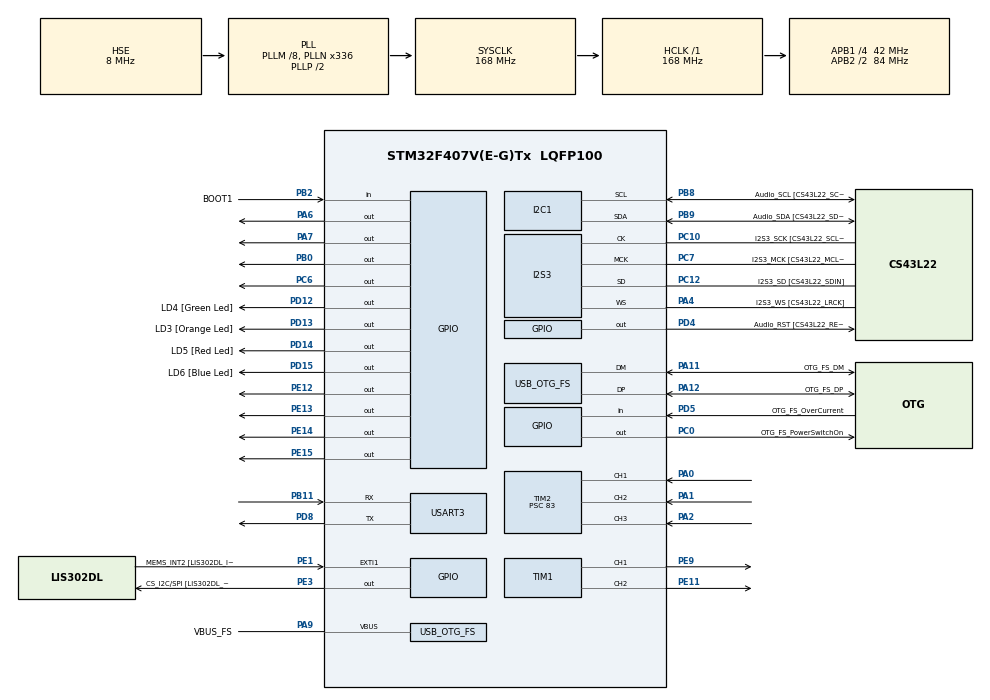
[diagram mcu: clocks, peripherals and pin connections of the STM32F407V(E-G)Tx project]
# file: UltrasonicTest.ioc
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FREERTOS.BinarySemaphores01=myBinarySem01,Dynamic,NULL,Available
FREERTOS.Mutexes01=myMutex01,Dynamic,NULL,Available
FREERTOS.Queues01=distanceQueue,16,uint16_t,0,Dynamic,NULL,NULL
FREERTOS.Tasks01=defaultTask,24,128,StartDefaultTask,Default,NULL,Dynamic,NULL,NULL;Task_Ultrasonic,8,128,StartTask03,Default,NULL,Dynamic,NULL,NULL;Task_Display,8,128,StartTask03,Default,NULL,Dynamic,NULL,NULL;Task_Bluetooth,8,128,StartTask04,Default,NULL,Dynamic,NULL,NULL
FREERTOS.configUSE_NEWLIB_REENTRANT=1
I2S3.AudioFreq-Half_Duplex_Master=I2S_AUDIOFREQ_96K
I2S3.ErrorAudioFreq=-2.34 %
I2S3.ErrorAudioFreq-Half_Duplex_Master=0.8 %
I2S3.FullDuplexMode=I2S_FULLDUPLEXMODE_DISABLE
I2S3.Instance=SPI$Index
I2S3.RealAudioFreq=93.75 KHz
I2S3.RealAudioFreq-Half_Duplex_Master=96.774 KHz
I2S3.VirtualMode=I2S_MODE_MASTER
Mcu.Family=STM32F4
Mcu.Name=STM32F407V(E-G)Tx
Mcu.Package=LQFP100
NVIC.OTG_FS_IRQn=true\:5\:0\:false\:false\:true\:true\:true\:true\:true
NVIC.PriorityGroup=NVIC_PRIORITYGROUP_4
NVIC.TIM2_IRQn=true\:5\:0\:false\:false\:true\:true\:true\:true\:true
NVIC.TIM6_DAC_IRQn=true\:15\:0\:false\:false\:true\:false\:false\:true\:true
NVIC.TimeBase=TIM6_DAC_IRQn
NVIC.TimeBaseIP=TIM6
PA0-WKUP.Signal=S_TIM2_CH1_ETR
PA1.Signal=S_TIM2_CH2
PA10.GPIO_Label=OTG_FS_ID
PA10.GPIO_Mode=GPIO_MODE_AF_PP
PA10.GPIO_PuPd=GPIO_NOPULL
PA10.GPIO_Speed=GPIO_SPEED_FREQ_LOW
PA10.Signal=USB_OTG_FS_ID
PA11.GPIO_Label=OTG_FS_DM
PA11.GPIO_Mode=GPIO_MODE_AF_PP
PA11.GPIO_PuPd=GPIO_NOPULL
PA11.GPIO_Speed=GPIO_SPEED_FREQ_LOW
PA11.Mode=Host_Only
PA11.Signal=USB_OTG_FS_DM
PA12.GPIO_Label=OTG_FS_DP
PA12.GPIO_Mode=GPIO_MODE_AF_PP
PA12.GPIO_PuPd=GPIO_NOPULL
PA12.GPIO_Speed=GPIO_SPEED_FREQ_LOW
PA12.Mode=Host_Only
PA12.Signal=USB_OTG_FS_DP
PA13.GPIO_Label=SWDIO
PA13.Mode=Serial_Wire
PA13.Signal=SYS_JTMS-SWDIO
PA14.GPIO_Label=SWCLK
PA14.Mode=Serial_Wire
PA14.Signal=SYS_JTCK-SWCLK
PA2.Signal=S_TIM2_CH3
PA4.GPIO_Label=I2S3_WS [CS43L22_LRCK]
PA4.GPIO_Mode=GPIO_MODE_AF_PP
PA4.GPIO_PuPd=GPIO_NOPULL
PA4.GPIO_Speed=GPIO_SPEED_FREQ_LOW
PA4.Mode=Half_Duplex_Master
PA4.Signal=I2S3_WS
PA5.GPIO_Label=SPI1_SCK [LIS302DL_SCL/SPC]
PA5.GPIO_Mode=GPIO_MODE_AF_PP
PA5.GPIO_PuPd=GPIO_NOPULL
PA5.GPIO_Speed=GPIO_SPEED_FREQ_LOW
PA5.Signal=SPI1_SCK
PA6.Signal=GPIO_Output
PA7.Signal=GPIO_Output
PA9.GPIO_Label=VBUS_FS
PA9.GPIO_Mode=GPIO_MODE_INPUT
PA9.GPIO_PuPd=GPIO_NOPULL
PA9.Mode=Activate_VBUS
PA9.Signal=USB_OTG_FS_VBUS
PB0.Signal=GPIO_Output
PB10.GPIO_Label=CLK_IN [MP45DT02_CLK]
PB10.GPIO_Mode=GPIO_MODE_AF_PP
PB10.GPIO_PuPd=GPIO_NOPULL
PB10.GPIO_Speed=GPIO_SPEED_FREQ_LOW
PB10.Signal=I2S2_CK
PB11.Mode=Asynchronous
PB11.Signal=USART3_RX
PB2.GPIO_Label=BOOT1
PB2.GPIO_Mode=GPIO_MODE_INPUT
PB2.GPIO_PuPd=GPIO_NOPULL
PB2.Signal=GPIO_Input
PB3.GPIO_Label=SWO
PB3.Signal=SYS_JTDO-SWO
PB8.GPIO_Label=Audio_SCL [CS43L22_SCL]
PB8.GPIO_Mode=GPIO_MODE_AF_OD
PB8.GPIO_Pu=GPIO_PULLUP
PB8.GPIO_Speed=GPIO_SPEED_FREQ_LOW
PB8.Mode=I2C
PB8.Signal=I2C1_SCL
PB9.GPIO_Label=Audio_SDA [CS43L22_SDA]
PB9.GPIO_Mode=GPIO_MODE_AF_OD
PB9.GPIO_Pu=GPIO_PULLUP
PB9.GPIO_PuPd=GPIO_NOPULL
PB9.GPIO_Speed=GPIO_SPEED_FREQ_LOW
PB9.Mode=I2C
PB9.Signal=I2C1_SDA
PC0.GPIO_Label=OTG_FS_PowerSwitchOn
PC0.GPIO_PuPd=GPIO_NOPULL
PC0.GPIO_Speed=GPIO_SPEED_FREQ_LOW
PC0.PinState=GPIO_PIN_SET
PC0.Signal=GPIO_Output
PC10.GPIO_Label=I2S3_SCK [CS43L22_SCLK]
PC10.GPIO_Mode=GPIO_MODE_AF_PP
PC10.GPIO_PuPd=GPIO_NOPULL
PC10.GPIO_Speed=GPIO_SPEED_FREQ_LOW
PC10.Mode=Half_Duplex_Master
PC10.Signal=I2S3_CK
PC12.GPIO_Label=I2S3_SD [CS43L22_SDIN]
PC12.GPIO_Mode=GPIO_MODE_AF_PP
PC12.GPIO_PuPd=GPIO_NOPULL
PC12.GPIO_Speed=GPIO_SPEED_FREQ_LOW
PC12.Mode=Half_Duplex_Master
PC12.Signal=I2S3_SD
PC14-OSC32_IN.GPIO_Label=PC14-OSC32_IN
PC14-OSC32_IN.Mode=LSE-External-Oscillator
PC14-OSC32_IN.Signal=RCC_OSC32_IN
PC15-OSC32_OUT.GPIO_Label=PC15-OSC32_OUT
PC15-OSC32_OUT.Mode=LSE-External-Oscillator
PC15-OSC32_OUT.Signal=RCC_OSC32_OUT
PC3.GPIO_Label=PDM_OUT [MP45DT02_DOUT]
PC3.GPIO_Mode=GPIO_MODE_AF_PP
PC3.GPIO_PuPd=GPIO_NOPULL
PC3.GPIO_Speed=GPIO_SPEED_FREQ_LOW
PC3.Signal=I2S2_SD
PC6.Signal=GPIO_Output
PC7.GPIO_Label=I2S3_MCK [CS43L22_MCLK]
PC7.GPIO_Mode=GPIO_MODE_AF_PP
PC7.GPIO_PuPd=GPIO_NOPULL
PC7.GPIO_Speed=GPIO_SPEED_FREQ_LOW
PC7.Mode=Master_Clock_Activated
PC7.Signal=I2S3_MCK
PD12.GPIO_Label=LD4 [Green Led]
PD12.GPIO_PuPd=GPIO_NOPULL
PD12.GPIO_Speed=GPIO_SPEED_FREQ_LOW
PD12.Signal=GPIO_Output
PD13.GPIO_Label=LD3 [Orange Led]
PD13.GPIO_PuPd=GPIO_NOPULL
PD13.GPIO_Speed=GPIO_SPEED_FREQ_LOW
PD13.Signal=GPIO_Output
PD14.GPIO_Label=LD5 [Red Led]
PD14.GPIO_PuPd=GPIO_NOPULL
PD14.GPIO_Speed=GPIO_SPEED_FREQ_LOW
PD14.Signal=GPIO_Output
PD15.GPIO_Label=LD6 [Blue Led]
PD15.GPIO_PuPd=GPIO_NOPULL
PD15.GPIO_Speed=GPIO_SPEED_FREQ_LOW
PD15.Signal=GPIO_Output
PD4.GPIO_Label=Audio_RST [CS43L22_RESET]
PD4.GPIO_PuPd=GPIO_NOPULL
PD4.GPIO_Speed=GPIO_SPEED_FREQ_LOW
PD4.Signal=GPIO_Output
PD5.GPIO_Label=OTG_FS_OverCurrent
PD5.GPIO_Mode=GPIO_MODE_INPUT
PD5.GPIO_PuPd=GPIO_NOPULL
PD5.Signal=GPIO_Input
PD8.Mode=Asynchronous
PD8.Signal=USART3_TX
PE1.GPIO_Label=MEMS_INT2 [LIS302DL_INT2]
PE1.GPIO_ModeDefaultEXTI=GPIO_MODE_EVT_RISING
PE1.GPIO_PuPd=GPIO_NOPULL
PE1.Signal=GPXTI1
PE11.Signal=S_TIM1_CH2
PE12.Signal=GPIO_Output
PE13.Signal=GPIO_Output
PE14.Signal=GPIO_Output
PE15.Signal=GPIO_Output
PE3.GPIO_Label=CS_I2C/SPI [LIS302DL_CS_I2C/SPI]
PE3.GPIO_PuPd=GPIO_NOPULL
PE3.GPIO_Speed=GPIO_SPEED_FREQ_LOW
PE3.Signal=GPIO_Output
PE9.Signal=S_TIM1_CH1
PH0-OSC_IN.GPIO_Label=PH0-OSC_IN
PH0-OSC_IN.Mode=HSE-External-Oscillator
PH0-OSC_IN.Signal=RCC_OSC_IN
PH1-OSC_OUT.GPIO_Label=PH1-OSC_OUT
PH1-OSC_OUT.Mode=HSE-External-Oscillator
PH1-OSC_OUT.Signal=RCC_OSC_OUT
ProjectManager.HeapSize=0x200
ProjectManager.StackSize=0x400
ProjectManager.TargetToolchain=STM32CubeIDE
RCC.48MHZClocksFreq_Value=48000000
RCC.AHBFreq_Value=168000000
RCC.APB1CLKDivider=RCC_HCLK_DIV4
RCC.APB1Freq_Value=42000000
RCC.APB1TimFreq_Value=84000000
RCC.APB2CLKDivider=RCC_HCLK_DIV2
RCC.APB2Freq_Value=84000000
RCC.APB2TimFreq_Value=168000000
RCC.CortexFreq_Value=168000000
RCC.HCLKFreq_Value=168000000
RCC.HSE_VALUE=8000000
RCC.HSI_VALUE=16000000
RCC.PLLM=8
RCC.PLLN=336
RCC.PLLQ=7
RCC.SYSCLKFreq_VALUE=168000000
RCC.SYSCLKSource=RCC_SYSCLKSOURCE_PLLCLK
RCC.VCOOutputFreq_Value=336000000
SH.S_TIM1_CH1.0=TIM1_CH1,PWM Generation1 CH1
SH.S_TIM1_CH2.0=TIM1_CH2,PWM Generation2 CH2
SH.S_TIM2_CH1_ETR.0=TIM2_CH1,Input_Capture1_from_TI1
SH.S_TIM2_CH2.0=TIM2_CH2,Input_Capture2_from_TI2
SH.S_TIM2_CH3.0=TIM2_CH3,Input_Capture3_from_TI3
TIM1.Channel-PWM\ Generation1\ CH1=TIM_CHANNEL_1
TIM1.Channel-PWM\ Generation2\ CH2=TIM_CHANNEL_2
TIM2.Channel-Input_Capture1_from_TI1=TIM_CHANNEL_1
TIM2.Channel-Input_Capture2_from_TI2=TIM_CHANNEL_2
TIM2.Channel-Input_Capture3_from_TI3=TIM_CHANNEL_3
TIM2.Prescaler=83
USART3.VirtualMode=VM_ASYNC
USB_HOST.BSP.number=1
USB_HOST.USBH_HandleTypeDef-CDC_FS=hUsbHostFS
USB_HOST.VirtualModeFS=Cdc
USB_HOST0.BSP.STBoard=false
USB_HOST0.BSP.api=Unknown
USB_HOST0.BSP.instance=PC0
USB_HOST0.BSP.ip=GPIO
USB_HOST0.BSP.mode=Output
USB_HOST0.BSP.name=Drive_VBUS_FS
USB_HOST0.BSP.solution=PC0
USB_OTG_FS.VirtualMode=Host_Only
USB_OTG_FS.phy_itface=HCD_PHY_EMBEDDED
VP_FREERTOS_VS_CMSIS_V2.Mode=CMSIS_V2
VP_SYS_VS_tim6.Mode=TIM6
VP_USB_HOST_VS_USB_HOST_CDC_FS.Mode=CDC_FS
board=STM32F407G-DISC1

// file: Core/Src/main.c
/* USER CODE BEGIN Header */
/**
  ******************************************************************************
  * @file           : main.c
  * @brief          : Main program body
  ******************************************************************************
  * @attention
  *
  * Copyright (c) 2026 STMicroelectronics.
  * All rights reserved.
  *
  * This software is licensed under terms that can be found in the LICENSE file
  * in the root directory of this software component.
  * If no LICENSE file comes with this software, it is provided AS-IS.
  *
  ******************************************************************************
  */
/* USER CODE END Header */
#include "main.h"
#include "cmsis_os.h"
#include "i2c.h"
#include "i2s.h"
#include "tim.h"
#include "usart.h"
#include "usb_host.h"
#include "gpio.h"

/* USER CODE BEGIN Includes */
#include "usb_host.h"
#include "stm32f4xx_hal.h"
#include "stdio.h"
#include "liquidcrystal_i2c.h"
/* USER CODE END Includes */

void SystemClock_Config(void);
void MX_FREERTOS_Init(void);

/* USER CODE BEGIN 0 */
typedef enum {
    HCSR04_IDLE,
    HCSR04_TRIGGERED,
    HCSR04_WAITING_ECHO,
    HCSR04_DONE
} HCSR04_State;

typedef struct {
    uint32_t ic_start;
    uint32_t ic_end;
    uint32_t echo_time;
    uint8_t  captured;
    uint32_t last_trigger_time;
    HCSR04_State state;
} HCSR04_t;

HCSR04_t hcsr04[3];

static const GPIO_TypeDef* trig_port[3] = { GPIOA, GPIOA, GPIOB };
static const uint16_t      trig_pin[3]  = { GPIO_PIN_6, GPIO_PIN_7, GPIO_PIN_0 };
static const uint32_t      tim_channel[3] = { TIM_CHANNEL_1, TIM_CHANNEL_2, TIM_CHANNEL_3 };

void delay_us(uint32_t us)
{
    uint32_t cycles = (SystemCoreClock / 1000000) * us;
    uint32_t start = DWT->CYCCNT;

    while ((DWT->CYCCNT - start) < cycles);
}

void HCSR04_Start(uint8_t sensor)
{
    // 10us pulse
    HAL_GPIO_WritePin((GPIO_TypeDef*)trig_port[sensor], trig_pin[sensor], GPIO_PIN_RESET);
    delay_us(2);
    HAL_GPIO_WritePin((GPIO_TypeDef*)trig_port[sensor], trig_pin[sensor], GPIO_PIN_SET);
    delay_us(10);
    HAL_GPIO_WritePin((GPIO_TypeDef*)trig_port[sensor], trig_pin[sensor], GPIO_PIN_RESET);

    // Reset timer and start capture
    __HAL_TIM_SET_COUNTER(&htim2, 0);
    HAL_TIM_IC_Start_IT(&htim2, tim_channel[sensor]);

    hcsr04[sensor].captured = 0;
    hcsr04[sensor].state = HCSR04_TRIGGERED;
    hcsr04[sensor].last_trigger_time = HAL_GetTick();
}

void HAL_TIM_IC_CaptureCallback(TIM_HandleTypeDef *htim)
{

    if (htim->Instance != TIM2)
        return;

    uint8_t idx;

    if      (htim->Channel == HAL_TIM_ACTIVE_CHANNEL_1) idx = 0;
    else if (htim->Channel == HAL_TIM_ACTIVE_CHANNEL_2) idx = 1;
    else if (htim->Channel == HAL_TIM_ACTIVE_CHANNEL_3) idx = 2;
    else return;

    if (hcsr04[idx].captured == 0)
    {
        hcsr04[idx].ic_start = HAL_TIM_ReadCapturedValue(htim, tim_channel[idx]);
        hcsr04[idx].captured = 1;

        __HAL_TIM_SET_CAPTUREPOLARITY(htim, tim_channel[idx],
                                      TIM_INPUTCHANNELPOLARITY_FALLING);
    }
    else
    {
        hcsr04[idx].ic_end = HAL_TIM_ReadCapturedValue(htim, tim_channel[idx]);

        if (hcsr04[idx].ic_end >= hcsr04[idx].ic_start)
            hcsr04[idx].echo_time = hcsr04[idx].ic_end - hcsr04[idx].ic_start;
        else
            hcsr04[idx].echo_time = (0xFFFFFFFF - hcsr04[idx].ic_start) + hcsr04[idx].ic_end;

        hcsr04[idx].state = HCSR04_DONE;
        hcsr04[idx].captured = 0;
        __HAL_TIM_SET_CAPTUREPOLARITY(htim, tim_channel[idx],
                                      TIM_INPUTCHANNELPOLARITY_RISING);

        HAL_TIM_IC_Stop_IT(htim, tim_channel[idx]);
    }
}

void HCSR04_Update(void)
{
    static uint8_t current = 0;

    switch (hcsr04[current].state)
    {
        case HCSR04_IDLE:
            HCSR04_Start(current);
            break;

        case HCSR04_TRIGGERED:
            // Waiting for echo to start
            if (HAL_GetTick() - hcsr04[current].last_trigger_time > 50)
            {
                // Timeout → no echo
                hcsr04[current].echo_time = 0;
                hcsr04[current].state = HCSR04_DONE;
            }
            break;

        case HCSR04_DONE:
            // Move to next sensor
            hcsr04[current].state = HCSR04_IDLE;
            current = (current + 1) % 3;
            break;
    }
}

float HCSR04_GetDistance(uint8_t sensor)
{
    return (hcsr04[sensor].echo_time * 0.0343f)/2.0f;
}

/* USER CODE END 0 */

int main(void)
{

  /* MCU Configuration--------------------------------------------------------*/

  /* Reset of all peripherals, Initializes the Flash interface and the Systick. */
  HAL_Init();

  /* Configure the system clock */
  SystemClock_Config();

  /* Initialize all configured peripherals */
  MX_GPIO_Init();
  MX_I2C1_Init();
  MX_I2S3_Init();
  MX_TIM2_Init();
  MX_USART3_UART_Init();
  MX_TIM1_Init();
  /* USER CODE BEGIN 2 */
  HAL_TIM_PWM_Start(&htim1, TIM_CHANNEL_1);
  HAL_TIM_PWM_Start(&htim1, TIM_CHANNEL_2);
  HD44780_Init(2);
  HD44780_Clear();
  HD44780_Backlight();
//  HD44780_SetCursor(0,0);
//  HD44780_PrintStr("Welcome To");
//  HD44780_SetCursor(0,1);
//  HD44780_PrintStr("GOAT HQ");

  /* USER CODE END 2 */

  /* Init scheduler */
  osKernelInitialize();  /* Call init function for freertos objects (in cmsis_os2.c) */
  MX_FREERTOS_Init();

  /* Start scheduler */
  osKernelStart();

  /* We should never get here as control is now taken by the scheduler */

  /* Infinite loop */
  while (1)
  {

  }
}

void SystemClock_Config(void)
{
  RCC_OscInitTypeDef RCC_OscInitStruct = {0};
  RCC_ClkInitTypeDef RCC_ClkInitStruct = {0};

  /** Configure the main internal regulator output voltage
  */
  __HAL_RCC_PWR_CLK_ENABLE();
  __HAL_PWR_VOLTAGESCALING_CONFIG(PWR_REGULATOR_VOLTAGE_SCALE1);

  /** Initializes the RCC Oscillators according to the specified parameters
  * in the RCC_OscInitTypeDef structure.
  */
  RCC_OscInitStruct.OscillatorType = RCC_OSCILLATORTYPE_HSE;
  RCC_OscInitStruct.HSEState = RCC_HSE_ON;
  RCC_OscInitStruct.PLL.PLLState = RCC_PLL_ON;
  RCC_OscInitStruct.PLL.PLLSource = RCC_PLLSOURCE_HSE;
  RCC_OscInitStruct.PLL.PLLM = 8;
  RCC_OscInitStruct.PLL.PLLN = 336;
  RCC_OscInitStruct.PLL.PLLP = RCC_PLLP_DIV2;
  RCC_OscInitStruct.PLL.PLLQ = 7;
  if (HAL_RCC_OscConfig(&RCC_OscInitStruct) != HAL_OK)
  {
    Error_Handler();
  }

  /** Initializes the CPU, AHB and APB buses clocks
  */
  RCC_ClkInitStruct.ClockType = RCC_CLOCKTYPE_HCLK|RCC_CLOCKTYPE_SYSCLK
                              |RCC_CLOCKTYPE_PCLK1|RCC_CLOCKTYPE_PCLK2;
  RCC_ClkInitStruct.SYSCLKSource = RCC_SYSCLKSOURCE_PLLCLK;
  RCC_ClkInitStruct.AHBCLKDivider = RCC_SYSCLK_DIV1;
  RCC_ClkInitStruct.APB1CLKDivider = RCC_HCLK_DIV4;
  RCC_ClkInitStruct.APB2CLKDivider = RCC_HCLK_DIV2;

  if (HAL_RCC_ClockConfig(&RCC_ClkInitStruct, FLASH_LATENCY_5) != HAL_OK)
  {
    Error_Handler();
  }
}

void HAL_TIM_PeriodElapsedCallback(TIM_HandleTypeDef *htim)
{
  if (htim->Instance == TIM6)
  {
    HAL_IncTick();
  }
}

void Error_Handler(void)
{
  __disable_irq();
  while (1)
  {
  }
}

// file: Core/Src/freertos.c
/* USER CODE BEGIN Header */
/**
  ******************************************************************************
  * File Name          : freertos.c
  * Description        : Code for freertos applications
  ******************************************************************************
  * @attention
  *
  * Copyright (c) 2026 STMicroelectronåics.
  * All rights reserved.
  *
  * This software is licensed under terms that can be found in the LICENSE file
  * in the root directory of this software component.
  * If no LICENSE file comes with this software, it is provided AS-IS.
  *
  ******************************************************************************
  */
/* USER CODE END Header */

#include "FreeRTOS.h"
#include "task.h"
#include "main.h"
#include "cmsis_os.h"
#include "tim.h"
#include <string.h>
/* USER CODE BEGIN Includes */
#include <stdio.h>
#include "usart.h"
/* USER CODE END Includes */

/* USER CODE BEGIN PTD */
typedef struct {
    int dir;
    uint32_t ms;
} MotorCommand_t;
/* USER CODE END PTD */

osThreadId_t Task_MotorHandle;
const osThreadAttr_t Task_Motor_attributes = {
  .name = "Task_Motor",
  .stack_size = 128*10,
  .priority = (osPriority_t) osPriorityNormal,
};
/* Definitions for defaultTask */
osThreadId_t defaultTaskHandle;
const osThreadAttr_t defaultTask_attributes = {
  .name = "defaultTask",
  .stack_size = 128 * 4,
  .priority = (osPriority_t) osPriorityNormal,
};
/* Definitions for Task_Ultrasonic */
osThreadId_t Task_UltrasonicHandle;
const osThreadAttr_t Task_Ultrasonic_attributes = {
  .name = "Task_Ultrasonic",
  .stack_size = 128 * 4,
  .priority = (osPriority_t) osPriorityLow,
};

/* Definitions for Task_Display */
osThreadId_t Task_DisplayHandle;
const osThreadAttr_t Task_Display_attributes = {
  .name = "Task_Display",
  .stack_size = 128 * 4,
  .priority = (osPriority_t) osPriorityLow,
};
osThreadId_t Task_BT_RXHandle;
const osThreadAttr_t Task_BT_RX_attributes = {
  .name = "Task_BT_RX",
  .stack_size = 512*4,
  .priority = (osPriority_t) osPriorityLow,
};

osThreadId_t Task_BT_TXHandle;
const osThreadAttr_t Task_BT_TX_attributes = {
  .name = "Task_BT_TX",
  .stack_size = 512*4,
  .priority = (osPriority_t) osPriorityLow,
};
/* Definitions for distanceQueue */
osMessageQueueId_t distanceQueueHandle;
const osMessageQueueAttr_t distanceQueue_attributes = {
  .name = "distanceQueue"
};
/* Definitions for myMutex01 */
osMutexId_t myMutex01Handle;
const osMutexAttr_t myMutex01_attributes = {
  .name = "myMutex01"
};
/* Definitions for myBinarySem01 */
osSemaphoreId_t myBinarySem01Handle;
const osSemaphoreAttr_t myBinarySem01_attributes = {
  .name = "myBinarySem01"
};

/* USER CODE BEGIN FunctionPrototypes */

/* MOTOR CONTROL FUNCTIONS */

static void left_forward(uint16_t pwm)
{
    HAL_GPIO_WritePin(GPIOE, GPIO_PIN_12, GPIO_PIN_SET);
    HAL_GPIO_WritePin(GPIOE, GPIO_PIN_13, GPIO_PIN_RESET);
    __HAL_TIM_SET_COMPARE(&htim1, TIM_CHANNEL_1, pwm);
}

static void right_forward(uint16_t pwm)
{
    HAL_GPIO_WritePin(GPIOE, GPIO_PIN_14, GPIO_PIN_SET);
    HAL_GPIO_WritePin(GPIOE, GPIO_PIN_15, GPIO_PIN_RESET);
    __HAL_TIM_SET_COMPARE(&htim1, TIM_CHANNEL_2, pwm);
}

static void left_backward(uint16_t pwm)
{
    HAL_GPIO_WritePin(GPIOE, GPIO_PIN_12, GPIO_PIN_RESET);
    HAL_GPIO_WritePin(GPIOE, GPIO_PIN_13, GPIO_PIN_SET);
    __HAL_TIM_SET_COMPARE(&htim1, TIM_CHANNEL_1, pwm);
}

static void right_backward(uint16_t pwm)
{
    HAL_GPIO_WritePin(GPIOE, GPIO_PIN_14, GPIO_PIN_RESET);
    HAL_GPIO_WritePin(GPIOE, GPIO_PIN_15, GPIO_PIN_SET);
    __HAL_TIM_SET_COMPARE(&htim1, TIM_CHANNEL_2, pwm);
}

static void stop_all(void)
{
    __HAL_TIM_SET_COMPARE(&htim1, TIM_CHANNEL_1, 0);
    __HAL_TIM_SET_COMPARE(&htim1, TIM_CHANNEL_2, 0);
}

static void turn_right(uint16_t speed)
{
    left_forward(speed);
    right_backward(speed);
}

static void turn_left(uint16_t speed)
{
    left_backward(speed);
    right_forward(speed);
}

static void go_straight(uint16_t speed)
{
    left_forward(speed);
    right_forward(speed);
}
void Task_Motor(void *argument)
{
    HAL_GPIO_WritePin(GPIOC, GPIO_PIN_6, GPIO_PIN_SET); // enable motor driver

    MotorCommand_t cmd;
    int active_dir = 4;  // 4 = stop
    uint32_t end_tick = 0;
    const uint16_t speed = 65000;

    stop_all();

    for(;;)
    {
        // Check if a new command arrived, but do NOT block forever
        if (osMessageQueueGet(distanceQueueHandle, &cmd, NULL, 0) == osOK)
        {
            active_dir = cmd.dir;
            end_tick = HAL_GetTick() + cmd.ms;
        }

        // Execute current state
        switch(active_dir)
        {
            case 1: // left
                turn_left(speed);
                break;

            case 2: // right
                turn_right(speed);
                break;

            case 3: // straight
                go_straight(speed);
                break;

            case 4: // stop
            default:
                stop_all();
                break;
        }

        // Auto-stop when time expires
        if (active_dir != 4 && HAL_GetTick() >= end_tick)
        {
            active_dir = 4;
            stop_all();
        }

        HAL_GPIO_TogglePin(LD4_GPIO_Port, LD4_Pin); // debug heartbeat
        vTaskDelay(pdMS_TO_TICKS(20));
    }
}

void Task_Ultrasonic(void *argument)
{
    for(;;)
    {
      	HCSR04_Update();
      	vTaskDelay(pdMS_TO_TICKS(50));
    }
}

void Task_Display(void *argument)
{
    char lcd_buf0[16];
    char lcd_buf1[16];

    for(;;)
    {
        float d0 = HCSR04_GetDistance(0);
        float d1 = HCSR04_GetDistance(1);
        float d2 = HCSR04_GetDistance(2);

        snprintf(lcd_buf0, sizeof(lcd_buf0), "Dist: %.2f", d0);
        snprintf(lcd_buf1, sizeof(lcd_buf1), "%.2f  %.2f", d1, d2);

        HD44780_SetCursor(0,0);
        HD44780_PrintStr(lcd_buf0);
        HD44780_SetCursor(0,1);
        HD44780_PrintStr(lcd_buf1);

        vTaskDelay(pdMS_TO_TICKS(100));
    }
}

void Task_BT_RX(void *argument)
{
    char rx_buffer[32];
    uint8_t ch;
    int idx = 0;
    MotorCommand_t cmd;

    for(;;)
    {
    	osMutexAcquire(myMutex01Handle, osWaitForever);
    	HAL_StatusTypeDef status = HAL_UART_Receive(&huart3, &ch, 1, 5);
    	osMutexRelease(myMutex01Handle);

    	if (status == HAL_OK)
        {
            if (ch == '\n' || ch == '\r')
            {
                if (idx == 0)
                    continue;
                rx_buffer[idx] = '\0';

                cmd.dir = 0;
                cmd.ms = 0;

                if (sscanf(rx_buffer, "%d,%lu", &cmd.dir, &cmd.ms) == 2)
                {
                	if (cmd.dir < 1 || cmd.dir > 4)
                	{
                	    idx = 0;
                	    memset(rx_buffer,0,sizeof(rx_buffer));
                	    continue;
                	}

                    if (cmd.ms > 5000)
                        cmd.ms = 5000;

                    if (osMessageQueuePut(distanceQueueHandle, &cmd, 0, 0) != osOK)
                    {
                        // optional: drop or send stop command
                    }
                }

                idx = 0;
                memset(rx_buffer, 0, sizeof(rx_buffer));
            }
            else if (idx < (int)(sizeof(rx_buffer) - 1))
            {
                rx_buffer[idx++] = ch;
            }
            else
            {
                idx = 0;
                memset(rx_buffer, 0, sizeof(rx_buffer));
            }
        }

        vTaskDelay(pdMS_TO_TICKS(2));
    }
}

void Task_BT_TX(void *argument)
{
    char msg[64];

    for(;;)
    {
        float d0 = HCSR04_GetDistance(0);
        float d1 = HCSR04_GetDistance(1);
        float d2 = HCSR04_GetDistance(2);

        snprintf(msg, sizeof(msg), "%.2f,%.2f,%.2f\r\n", d0, d1, d2);
        osMutexAcquire(myMutex01Handle, osWaitForever);
        HAL_UART_Transmit(&huart3, (uint8_t*)msg, strlen(msg), 50);
        osMutexRelease(myMutex01Handle);

        vTaskDelay(pdMS_TO_TICKS(100));
    }
}
/* USER CODE END FunctionPrototypes */

void StartDefaultTask(void *argument);
void StartTask03(void *argument);
void StartTask04(void *argument);

extern void MX_USB_HOST_Init(void);
void MX_FREERTOS_Init(void); /* (MISRA C 2004 rule 8.1) */

void MX_FREERTOS_Init(void) {
  /* Create the mutex(es) */
  /* creation of myMutex01 */
  myMutex01Handle = osMutexNew(&myMutex01_attributes);

  /* Create the semaphores(s) */
  /* creation of myBinarySem01 */
  myBinarySem01Handle = osSemaphoreNew(1, 1, &myBinarySem01_attributes);

  /* Create the queue(s) */
  /* creation of distanceQueue */
  distanceQueueHandle = osMessageQueueNew (16, sizeof(MotorCommand_t), &distanceQueue_attributes);

  /* Create the thread(s) */
  /* creation of defaultTask */
  defaultTaskHandle = osThreadNew(StartDefaultTask, NULL, &defaultTask_attributes);

  /* creation of Task_Ultrasonic */
  Task_UltrasonicHandle = osThreadNew(Task_Ultrasonic, NULL, &Task_Ultrasonic_attributes);
  /* creation of Task_Motor */
  Task_MotorHandle = osThreadNew(Task_Motor, NULL, &Task_Motor_attributes);
  /* creation of Task_Display */
  // Task_DisplayHandle = osThreadNew(StartTask03, NULL, &Task_Display_attributes);

  /* creation of Task_Bluetooth */
  Task_BT_RXHandle = osThreadNew(Task_BT_RX, NULL, &Task_BT_RX_attributes);
  Task_BT_TXHandle = osThreadNew(Task_BT_TX, NULL, &Task_BT_TX_attributes);

}

void StartDefaultTask(void *argument)
{
  /* init code for USB_HOST */
  MX_USB_HOST_Init();
  /* USER CODE BEGIN StartDefaultTask */
  /* Infinite loop */
  for(;;)
  {

    osDelay(200);
  }
  /* USER CODE END StartDefaultTask */
}

void StartTask03(void *argument)
{
  for(;;)
  {
    osDelay(1);
  }
}

void StartTask04(void *argument)
{
  for(;;)
  {
    osDelay(1);
  }
}
